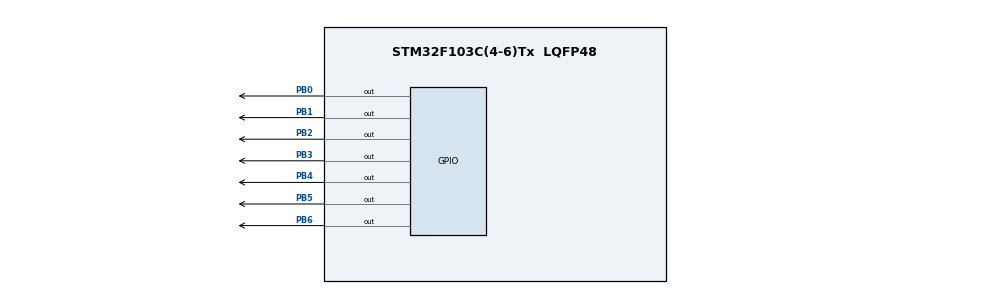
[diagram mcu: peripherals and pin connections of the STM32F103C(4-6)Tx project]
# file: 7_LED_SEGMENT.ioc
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Mcu.Family=STM32F1
Mcu.Name=STM32F103C(4-6)Tx
Mcu.Package=LQFP48
NVIC.PriorityGroup=NVIC_PRIORITYGROUP_4
PB0.Signal=GPIO_Output
PB1.Signal=GPIO_Output
PB2.Signal=GPIO_Output
PB3.Signal=GPIO_Output
PB4.Signal=GPIO_Output
PB5.Signal=GPIO_Output
PB6.Signal=GPIO_Output
ProjectManager.HeapSize=0x200
ProjectManager.StackSize=0x400
ProjectManager.TargetToolchain=STM32CubeIDE
RCC.APB1Freq_Value=8000000
RCC.APB2Freq_Value=8000000
board=custom

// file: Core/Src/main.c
/* USER CODE BEGIN Header */
/**
  ******************************************************************************
  * @file           : main.c
  * @brief          : Main program body
  ******************************************************************************
  * @attention
  *
  * Copyright (c) 2024 STMicroelectronics.
  * All rights reserved.
  *
  * This software is licensed under terms that can be found in the LICENSE file
  * in the root directory of this software component.
  * If no LICENSE file comes with this software, it is provided AS-IS.
  *
  ******************************************************************************
  */
/* USER CODE END Header */
#include "main.h"

void SystemClock_Config(void);
static void MX_GPIO_Init(void);

/* USER CODE BEGIN 0 */
// Define the pins for each segment (A-G) connected to PB0 to PB6
#define SEG_A GPIO_PIN_0
#define SEG_B GPIO_PIN_1
#define SEG_C GPIO_PIN_2
#define SEG_D GPIO_PIN_3
#define SEG_E GPIO_PIN_4
#define SEG_F GPIO_PIN_5
#define SEG_G GPIO_PIN_6

#define GPIO_SEG_PORT GPIOB // Assuming the segments are connected to port B

// Lookup table for 7-segment display (common anode or cathode depending on your setup)
int segment_map[10] = {
    0b00111111, // 0
    0b00000110, // 1
    0b01011011, // 2
    0b01001111, // 3
    0b01100110, // 4
    0b01101101, // 5
    0b01111101, // 6
    0b00000111, // 7
    0b01111111, // 8
    0b01101111  // 9
};

// Function to display a digit on the 7-segment display
void display7SEG(int num) {
    if (num > 9) return; // Limit input to 0-9

    uint8_t segments = segment_map[num];

    HAL_GPIO_WritePin(GPIO_SEG_PORT, SEG_A, (segments & 0x01) ? GPIO_PIN_RESET : GPIO_PIN_SET);
    HAL_GPIO_WritePin(GPIO_SEG_PORT, SEG_B, (segments & 0x02) ? GPIO_PIN_RESET : GPIO_PIN_SET);
    HAL_GPIO_WritePin(GPIO_SEG_PORT, SEG_C, (segments & 0x04) ? GPIO_PIN_RESET : GPIO_PIN_SET);
    HAL_GPIO_WritePin(GPIO_SEG_PORT, SEG_D, (segments & 0x08) ? GPIO_PIN_RESET : GPIO_PIN_SET);
    HAL_GPIO_WritePin(GPIO_SEG_PORT, SEG_E, (segments & 0x10) ? GPIO_PIN_RESET : GPIO_PIN_SET);
    HAL_GPIO_WritePin(GPIO_SEG_PORT, SEG_F, (segments & 0x20) ? GPIO_PIN_RESET : GPIO_PIN_SET);
    HAL_GPIO_WritePin(GPIO_SEG_PORT, SEG_G, (segments & 0x40) ? GPIO_PIN_RESET : GPIO_PIN_SET);
}
/* USER CODE END 0 */

int main(void)
{

  /* MCU Configuration--------------------------------------------------------*/

  /* Reset of all peripherals, Initializes the Flash interface and the Systick. */
  HAL_Init();

  /* Configure the system clock */
  SystemClock_Config();

  /* Initialize all configured peripherals */
  MX_GPIO_Init();

  /* Infinite loop */

  int counter = 0;
  while (1) {
  if( counter >= 10) counter = 0;
  display7SEG ( counter ++) ;
  HAL_Delay (1000) ;

   }
  /* USER CODE BEGIN WHILE */
}

void SystemClock_Config(void)
{
  RCC_OscInitTypeDef RCC_OscInitStruct = {0};
  RCC_ClkInitTypeDef RCC_ClkInitStruct = {0};

  /** Initializes the RCC Oscillators according to the specified parameters
  * in the RCC_OscInitTypeDef structure.
  */
  RCC_OscInitStruct.OscillatorType = RCC_OSCILLATORTYPE_HSI;
  RCC_OscInitStruct.HSIState = RCC_HSI_ON;
  RCC_OscInitStruct.HSICalibrationValue = RCC_HSICALIBRATION_DEFAULT;
  RCC_OscInitStruct.PLL.PLLState = RCC_PLL_NONE;
  if (HAL_RCC_OscConfig(&RCC_OscInitStruct) != HAL_OK)
  {
    Error_Handler();
  }

  /** Initializes the CPU, AHB and APB buses clocks
  */
  RCC_ClkInitStruct.ClockType = RCC_CLOCKTYPE_HCLK|RCC_CLOCKTYPE_SYSCLK
                              |RCC_CLOCKTYPE_PCLK1|RCC_CLOCKTYPE_PCLK2;
  RCC_ClkInitStruct.SYSCLKSource = RCC_SYSCLKSOURCE_HSI;
  RCC_ClkInitStruct.AHBCLKDivider = RCC_SYSCLK_DIV1;
  RCC_ClkInitStruct.APB1CLKDivider = RCC_HCLK_DIV1;
  RCC_ClkInitStruct.APB2CLKDivider = RCC_HCLK_DIV1;

  if (HAL_RCC_ClockConfig(&RCC_ClkInitStruct, FLASH_LATENCY_0) != HAL_OK)
  {
    Error_Handler();
  }
}

static void MX_GPIO_Init(void)
{
  GPIO_InitTypeDef GPIO_InitStruct = {0};

  /* GPIO Ports Clock Enable */
  __HAL_RCC_GPIOB_CLK_ENABLE();

  /*Configure GPIO pin Output Level */
  HAL_GPIO_WritePin(GPIOB, GPIO_PIN_0|GPIO_PIN_1|GPIO_PIN_2|GPIO_PIN_3
                          |GPIO_PIN_4|GPIO_PIN_5|GPIO_PIN_6, GPIO_PIN_RESET);

  /*Configure GPIO pins : PB0 PB1 PB2 PB3
                           PB4 PB5 PB6 */
  GPIO_InitStruct.Pin = GPIO_PIN_0|GPIO_PIN_1|GPIO_PIN_2|GPIO_PIN_3
                          |GPIO_PIN_4|GPIO_PIN_5|GPIO_PIN_6;
  GPIO_InitStruct.Mode = GPIO_MODE_OUTPUT_PP;
  GPIO_InitStruct.Pull = GPIO_NOPULL;
  GPIO_InitStruct.Speed = GPIO_SPEED_FREQ_LOW;
  HAL_GPIO_Init(GPIOB, &GPIO_InitStruct);

}

void Error_Handler(void)
{
  __disable_irq();
  while (1)
  {
  }
}
